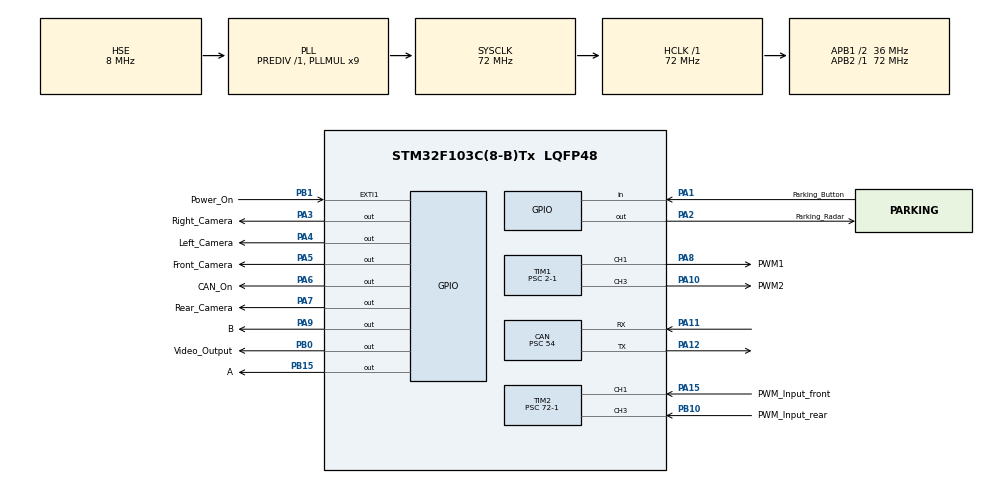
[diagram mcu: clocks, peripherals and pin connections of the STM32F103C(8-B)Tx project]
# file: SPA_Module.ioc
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CAN.AWUM=ENABLE
CAN.BS1=CAN_BS1_11TQ
CAN.BS2=CAN_BS2_2TQ
CAN.CalculateBaudRate=47619
CAN.CalculateTimeBit=21000
CAN.CalculateTimeQuantum=1500.0
CAN.Mode=CAN_MODE_NORMAL
CAN.Prescaler=54
CAN.SJW=CAN_SJW_1TQ
Mcu.Family=STM32F1
Mcu.Name=STM32F103C(8-B)Tx
Mcu.Package=LQFP48
NVIC.CAN1_RX1_IRQn=true\:0\:0\:true\:false\:true\:true\:true\:true
NVIC.EXTI1_IRQn=true\:0\:0\:false\:false\:true\:true\:true\:true
NVIC.PriorityGroup=NVIC_PRIORITYGROUP_4
NVIC.TIM2_IRQn=true\:0\:0\:true\:false\:true\:true\:true\:true
NVIC.TIM3_IRQn=true\:0\:0\:false\:false\:true\:true\:true\:true
NVIC.TIM4_IRQn=true\:0\:0\:true\:false\:true\:true\:true\:true
PA1.GPIO_Label=Parking_Button
PA1.GPIO_PuPd=GPIO_PULLUP
PA1.Signal=GPIO_Input
PA10.GPIO_Label=PWM2
PA10.GPIO_ModeDefaultPP=GPIO_MODE_AF_PP
PA10.GPIO_Speed=GPIO_SPEED_FREQ_HIGH
PA10.Signal=S_TIM1_CH3
PA11.GPIO_Mode=GPIO_MODE_INPUT
PA11.GPIO_PuPd=GPIO_NOPULL
PA11.Mode=CAN_Activate
PA11.Signal=CAN_RX
PA12.GPIO_Mode=GPIO_MODE_AF_PP
PA12.Mode=CAN_Activate
PA12.Signal=CAN_TX
PA13.Mode=Trace_Asynchronous_SW
PA13.Signal=SYS_JTMS-SWDIO
PA14.Mode=Trace_Asynchronous_SW
PA14.Signal=SYS_JTCK-SWCLK
PA15.GPIO_Label=PWM_Input_front
PA15.GPIO_PuPd=GPIO_PULLDOWN
PA15.Signal=S_TIM2_CH1_ETR
PA2.GPIO_Label=Parking_Radar
PA2.GPIO_PuPd=GPIO_PULLUP
PA2.PinState=GPIO_PIN_SET
PA2.Signal=GPIO_Output
PA3.GPIO_Label=Right_Camera
PA3.GPIO_PuPd=GPIO_PULLUP
PA3.PinState=GPIO_PIN_SET
PA3.Signal=GPIO_Output
PA4.GPIO_Label=Left_Camera
PA4.GPIO_PuPd=GPIO_PULLUP
PA4.PinState=GPIO_PIN_SET
PA4.Signal=GPIO_Output
PA5.GPIO_Label=Front_Camera
PA5.GPIO_PuPd=GPIO_PULLUP
PA5.PinState=GPIO_PIN_SET
PA5.Signal=GPIO_Output
PA6.GPIO_Label=CAN_On
PA6.Signal=GPIO_Output
PA7.GPIO_Label=Rear_Camera
PA7.GPIO_PuPd=GPIO_PULLUP
PA7.PinState=GPIO_PIN_SET
PA7.Signal=GPIO_Output
PA8.GPIO_Label=PWM1
PA8.GPIO_ModeDefaultPP=GPIO_MODE_AF_PP
PA8.GPIO_Speed=GPIO_SPEED_FREQ_HIGH
PA8.Signal=S_TIM1_CH1
PA9.GPIO_Label=B
PA9.GPIO_ModeDefaultOutputPP=GPIO_MODE_OUTPUT_OD
PA9.GPIO_PuPd=GPIO_NOPULL
PA9.GPIO_Speed=GPIO_SPEED_FREQ_HIGH
PA9.Signal=GPIO_Output
PB0.GPIO_Label=Video_Output
PB0.GPIO_PuPd=GPIO_PULLUP
PB0.PinState=GPIO_PIN_SET
PB0.Signal=GPIO_Output
PB1.GPIO_Label=Power_On
PB1.GPIO_ModeDefaultEXTI=GPIO_MODE_IT_RISING_FALLING
PB1.Signal=GPXTI1
PB10.GPIO_Label=PWM_Input_rear
PB10.Signal=S_TIM2_CH3
PB15.GPIO_Label=A
PB15.Signal=GPIO_Output
PB3.Mode=Trace_Asynchronous_SW
PB3.Signal=SYS_JTDO-TRACESWO
PD0-OSC_IN.Mode=HSE-External-Oscillator
PD0-OSC_IN.Signal=RCC_OSC_IN
PD1-OSC_OUT.Mode=HSE-External-Oscillator
PD1-OSC_OUT.Signal=RCC_OSC_OUT
ProjectManager.HeapSize=0x200
ProjectManager.StackSize=0x400
ProjectManager.TargetToolchain=STM32CubeIDE
RCC.AHBFreq_Value=72000000
RCC.APB1CLKDivider=RCC_HCLK_DIV2
RCC.APB1Freq_Value=36000000
RCC.APB1TimFreq_Value=72000000
RCC.APB2Freq_Value=72000000
RCC.APB2TimFreq_Value=72000000
RCC.HCLKFreq_Value=72000000
RCC.PLLMUL=RCC_PLL_MUL9
RCC.PLLSourceVirtual=RCC_PLLSOURCE_HSE
RCC.SYSCLKFreq_VALUE=72000000
RCC.SYSCLKSource=RCC_SYSCLKSOURCE_PLLCLK
RCC.USBFreq_Value=72000000
SH.S_TIM1_CH1.0=TIM1_CH1,PWM Generation1 CH1
SH.S_TIM1_CH3.0=TIM1_CH3,PWM Generation3 CH3
SH.S_TIM2_CH1_ETR.0=TIM2_CH1,Input_Capture1_from_TI1
SH.S_TIM2_CH3.0=TIM2_CH3,Input_Capture3_from_TI3
TIM1.AutoReloadPreload=TIM_AUTORELOAD_PRELOAD_DISABLE
TIM1.Channel-PWM\ Generation1\ CH1=TIM_CHANNEL_1
TIM1.Channel-PWM\ Generation3\ CH3=TIM_CHANNEL_3
TIM1.OCFastMode_PWM-PWM\ Generation1\ CH1=TIM_OCFAST_DISABLE
TIM1.OCIdleState_1=TIM_OCIDLESTATE_SET
TIM1.OCIdleState_3=TIM_OCIDLESTATE_SET
TIM1.OCMode_PWM-PWM\ Generation3\ CH3=TIM_OCMODE_PWM1
TIM1.OCPolarity_1=TIM_OCPOLARITY_LOW
TIM1.OCPolarity_3=TIM_OCPOLARITY_LOW
TIM1.Period=900-1
TIM1.Prescaler=2-1
TIM1.Pulse-PWM\ Generation1\ CH1=450-1
TIM1.Pulse-PWM\ Generation3\ CH3=450-1
TIM1.RepetitionCounter=16-1
TIM1.TIM_MasterOutputTrigger=TIM_TRGO_RESET
TIM2.AutoReloadPreload=TIM_AUTORELOAD_PRELOAD_DISABLE
TIM2.Channel-Input_Capture1_from_TI1=TIM_CHANNEL_1
TIM2.Channel-Input_Capture3_from_TI3=TIM_CHANNEL_3
TIM2.ClockDivision=TIM_CLOCKDIVISION_DIV1
TIM2.ICFilter_CH1=0
TIM2.ICPolarity_CH1=TIM_INPUTCHANNELPOLARITY_FALLING
TIM2.Period=60000-1
TIM2.Prescaler=72-1
TIM2.TIM_MasterOutputTrigger=TIM_TRGO_ENABLE
TIM2.TIM_MasterSlaveMode=TIM_MASTERSLAVEMODE_DISABLE
TIM3.AutoReloadPreload=TIM_AUTORELOAD_PRELOAD_DISABLE
TIM3.Channel-Output\ Compare1\ No\ Output=TIM_CHANNEL_1
TIM3.Channel-Output\ Compare2\ No\ Output=TIM_CHANNEL_2
TIM3.Period=20000-1
TIM3.Prescaler=72-1
TIM3.Pulse-Output\ Compare1\ No\ Output=2-1
TIM3.Pulse-Output\ Compare2\ No\ Output=10000-1
TIM4.Channel-Output\ Compare1\ No\ Output=TIM_CHANNEL_1
TIM4.Channel-Output\ Compare2\ No\ Output=TIM_CHANNEL_2
TIM4.Channel-Output\ Compare3\ No\ Output=TIM_CHANNEL_3
TIM4.OCMode_1=TIM_OCMODE_TOGGLE
TIM4.OCMode_2=TIM_OCMODE_TOGGLE
TIM4.Period=10000-1
TIM4.Prescaler=720-1
TIM4.Pulse-Output\ Compare1\ No\ Output=9000-1
TIM4.Pulse-Output\ Compare2\ No\ Output=5000-1
TIM4.Pulse-Output\ Compare3\ No\ Output=10000-1
VP_TIM1_VS_ClockSourceINT.Mode=Internal
VP_TIM1_VS_OPM.Mode=OPM_bit
VP_TIM2_VS_ClockSourceINT.Mode=Internal
VP_TIM3_VS_ClockSourceINT.Mode=Internal
VP_TIM3_VS_no_output1.Mode=Output Compare1 No Output
VP_TIM3_VS_no_output2.Mode=Output Compare2 No Output
VP_TIM4_VS_ClockSourceINT.Mode=Internal
VP_TIM4_VS_no_output1.Mode=Output Compare1 No Output
VP_TIM4_VS_no_output2.Mode=Output Compare2 No Output
VP_TIM4_VS_no_output3.Mode=Output Compare3 No Output
board=custom

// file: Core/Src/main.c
/* USER CODE BEGIN Header */
/**
  ******************************************************************************
  * @file           : main.c
  * @brief          : Main program body
  ******************************************************************************
  * @attention
  *
  * Copyright (c) 2025 STMicroelectronics.
  * All rights reserved.
  *
  * This software is licensed under terms that can be found in the LICENSE file
  * in the root directory of this software component.
  * If no LICENSE file comes with this software, it is provided AS-IS.
  *
  ******************************************************************************
  */
/* USER CODE END Header */
#include "main.h"

/* USER CODE BEGIN Includes */
#include <stdio.h>
#include <string.h>
/* USER CODE END Includes */

/* USER CODE BEGIN PD */
#define PARKING_BUTTON_PIN 	GPIO_PIN_1
#define PARKING_RADAR_PIN 	GPIO_PIN_2
#define RIGHT_CAMERA_PIN 	GPIO_PIN_3
#define LEFT_CAMERA_PIN 	GPIO_PIN_4
#define FRONT_CAMERA_PIN	GPIO_PIN_5
#define REAR_CAMERA_PIN 	GPIO_PIN_7
/* GPIO B */
#define VIDEO_OUTPUT_PIN 	GPIO_PIN_0

#define RADAR_START_PULSE 			1880	// ms
#define RADAR_HIGH_PULSE 			200		// ms
#define RADAR_LOW_PULSE 			100		// ms
#define RADAR_PULSE_DEVIATION 		20		// ms
#define RADAR_PULSES_NUMBER 		32
#define RADAR_PACKET_LENGTH 		8
#define RADAR_DISTANCE_MULTIPLIER 	10

#define FRONT_SPEED_LIMIT 		5
#define FRONT_DISTANCE_LIMIT	50

#define DISTANCE_LIMIT_1 30		// cm
#define DISTANCE_LIMIT_2 60		// cm
#define DISTANCE_LIMIT_3 100	// cm
#define DISTANCE_LIMIT_4 200	// cm

#define DISTANCE_LIMIT_1_TIMEOUT 100	// mS
#define DISTANCE_LIMIT_2_TIMEOUT 200	// mS
#define DISTANCE_LIMIT_3_TIMEOUT 400	// mS
#define DISTANCE_LIMIT_4_TIMEOUT 800	// mS

#define RIGHT_CAMERA_INDEX	0
#define LEFT_CAMERA_INDEX	1
#define FRONT_CAMERA_INDEX	2
#define REAR_CAMERA_INDEX	3

#define PARKING_BUTTON_LONG_PRESS_TIME	 1000	// mS
#define PARKING_BUTTON_SHORT_PRESS_TIME	 10		// mS

#define CAN_DATA_LENGTH 			8
#define CAN_SEND_START_TIMEOUT 		200		// mS
#define CAN_SPA_STATUS_FRAME_ID 	0x500
#define CAN_SID_BEEP_FRAME_ID 		0x430
#define CAN_TURN_LIGHT_FRAME_ID 	0x4a0
#define CAN_SPEED_RPM_FRAME_ID 		0x460
#define CAN_REVERSE_GEAR_FRAME_ID 	0x280
/* USER CODE END PD */

/* USER CODE BEGIN PM */
# define CHECK_BIT(var, pos) (((var) >> (pos)) & 1)
# define CHECK_RADAR_OFF (parking_camera_state == 0 && front_parking_radar == 0)
# define CHECK_RADAR_ON (parking_camera_state != 0 || front_parking_radar != 0)
# define CHECK_F_R_VIDEO_OFF (!CHECK_BIT(parking_camera_state, FRONT_CAMERA_INDEX) && !CHECK_BIT(parking_camera_state, REAR_CAMERA_INDEX))
# define CHECK_F_OR_R_VIDEO (CHECK_BIT(parking_camera_state, FRONT_CAMERA_INDEX) || CHECK_BIT(parking_camera_state, REAR_CAMERA_INDEX))
# define SET_INDEX_BIT(var, pos) (var |= 1 << pos)
# define CLEAR_INDEX_BIT(var, pos) (var &= ~(1 << pos))
# define IS_HIGH_PULSE(var) (RADAR_HIGH_PULSE + RADAR_PULSE_DEVIATION >= var && RADAR_HIGH_PULSE - RADAR_PULSE_DEVIATION <= var)
# define IS_LOW_PULSE(var) (RADAR_LOW_PULSE + RADAR_PULSE_DEVIATION >= var && RADAR_LOW_PULSE - RADAR_PULSE_DEVIATION <= var)
# define IS_START_PULSE(var) (RADAR_START_PULSE + RADAR_PULSE_DEVIATION >= var && RADAR_START_PULSE - RADAR_PULSE_DEVIATION <= var)
/* USER CODE END PM */

CAN_HandleTypeDef hcan;

TIM_HandleTypeDef htim1;
TIM_HandleTypeDef htim2;
TIM_HandleTypeDef htim3;
TIM_HandleTypeDef htim4;

/* USER CODE BEGIN PV */
CAN_TxHeaderTypeDef TxHeader;
CAN_RxHeaderTypeDef RxHeader;

uint8_t             RxData[8];
uint32_t            TxMailbox;

uint32_t 			front_sensors[4];
uint32_t		    rear_sensors[4];
int16_t				front_min_distance = 255;
int16_t				rear_min_distance = 255;

int8_t				start_radar = 0;
int8_t				notification = 0;
int8_t				enable_notification = 1;
int8_t				left_turn = 0;
int8_t				right_turn = 0;
int8_t				send_can_status = 0;
int8_t				parking_camera_state = 0;
int8_t				front_parking_radar = 0;

volatile uint8_t sleep_mode_activated = 0;
volatile uint8_t enter_sleep_flag = 0;
/* USER CODE END PV */

void SystemClock_Config(void);
static void MX_GPIO_Init(void);
static void MX_CAN_Init(void);
static void MX_TIM2_Init(void);
static void MX_TIM4_Init(void);
static void MX_TIM3_Init(void);
static void MX_TIM1_Init(void);

/* USER CODE BEGIN 0 */

void HandleFrontRadarPulses(TIM_HandleTypeDef *htim)
{
	static 	int8_t 		index = RADAR_PULSES_NUMBER;
	static 	int8_t 		start_cpatured = 0;
	static 	uint32_t	captured_pulses = 0;
			uint32_t 	pulse = 0;
			uint16_t 	packet = 0;

	pulse = HAL_TIM_ReadCapturedValue(htim, TIM_CHANNEL_2);

	if (IS_START_PULSE(pulse))
	{
		start_cpatured = 1;
		index = RADAR_PULSES_NUMBER;
		return;
	}
	if (start_cpatured){
		if (IS_HIGH_PULSE(pulse)) captured_pulses |= (1 << index);

		if (index == 0) {
			front_min_distance = 255;
			for (int i=0; i<4; i+=1) {
				packet = (captured_pulses & (255 << (RADAR_PACKET_LENGTH * i))) >> (RADAR_PACKET_LENGTH * i);
				front_sensors[i] = packet;
				if (packet < front_min_distance) front_min_distance = packet;
			}
			captured_pulses = 0;
			start_cpatured = 0;
		}
		index --;
	}
}

void HandleRearRadarPulses(TIM_HandleTypeDef *htim)
{
	static int8_t 		index = RADAR_PULSES_NUMBER;
	static int8_t 		start_cpatured = 0;
	static uint32_t 	captured_pulses = 0;
	uint32_t 			pulse = 0;
	uint16_t 			packet = 0;

	pulse = HAL_TIM_ReadCapturedValue(htim, TIM_CHANNEL_2);

	if (IS_START_PULSE(pulse))
	{
		start_cpatured = 1;
		index = RADAR_PULSES_NUMBER;
		return;
	}
	if (start_cpatured){
		if (IS_HIGH_PULSE(pulse)) captured_pulses |= (1 << index);

		if (index == 0) {
			rear_min_distance = 255;
			for (int i=0; i<4; i+=1) {
				packet = (captured_pulses & (255 << (RADAR_PACKET_LENGTH * i))) >> (RADAR_PACKET_LENGTH * i);
				rear_sensors[i] = packet;
				if (packet < rear_min_distance) rear_min_distance = packet;
			}
			captured_pulses = 0;
			start_cpatured = 0;
		}
		index --;
	}
}

void can_send_sensors(){

	if (notification) {
		static uint8_t TxData[8];
		TxHeader.StdId = CAN_SPA_STATUS_FRAME_ID;
		TxData[0] = rear_sensors[0];
		TxData[1] = rear_sensors[1];
		TxData[2] = rear_sensors[2];
		TxData[3] = rear_sensors[3];
		TxData[4] = front_sensors[0];
		TxData[5] = front_sensors[1];
		TxData[6] = front_sensors[2];
		TxData[7] = front_sensors[3];
		if (HAL_CAN_AddTxMessage(&hcan, &TxHeader, TxData, &TxMailbox) != HAL_OK)
		{
			Error_Handler();
		}
	}
}

void send_long_beep_distance(){
	static uint8_t TxData[8];
		TxHeader.StdId = CAN_SID_BEEP_FRAME_ID;
		TxData[2] |= 1 << 7;
		if (HAL_CAN_AddTxMessage(&hcan, &TxHeader, TxData, &TxMailbox) != HAL_OK)
		{
			Error_Handler();
		}
}

void send_beep_distance(){
	static uint8_t TxData[8];
		TxHeader.StdId = CAN_SID_BEEP_FRAME_ID;
		TxData[1] |= 1 << 4;
		if (HAL_CAN_AddTxMessage(&hcan, &TxHeader, TxData, &TxMailbox) != HAL_OK)
		{
			Error_Handler();
		}
}

uint16_t get_min_distance()
{
	uint16_t min_distance = 255;
	for (int i=0; i<3; i++)
	{
		if (front_sensors[i] < min_distance) min_distance = front_sensors[i];
		if (rear_sensors[i] < min_distance) min_distance = rear_sensors[i];
	}
	return min_distance;
}

uint16_t get_front_min_distance()
{
	uint16_t min_distance = 255;
	for (int i=0; i<3; i++){
			if (front_sensors[i] < min_distance) min_distance = front_sensors[i];
		}
	return min_distance;
}

void SendParkingSound()
{
	static uint32_t last_time = 0;

	if (notification == 0) return;

	switch(get_min_distance() * RADAR_DISTANCE_MULTIPLIER)
	{
	case 0 ... DISTANCE_LIMIT_1:
	{
		if ((HAL_GetTick() - last_time >= DISTANCE_LIMIT_1_TIMEOUT) || last_time == 0)
		{
			last_time = HAL_GetTick();
			send_beep_distance();
		}
	}
	break;
	case (DISTANCE_LIMIT_1 + 1) ... DISTANCE_LIMIT_2:
	{
		if ((HAL_GetTick() - last_time >= DISTANCE_LIMIT_2_TIMEOUT) || last_time == 0)
		{
			last_time = HAL_GetTick();
			send_beep_distance();
		}
	}
	break;
	case (DISTANCE_LIMIT_2 + 1) ... DISTANCE_LIMIT_3:
	{
		if ((HAL_GetTick() - last_time >= DISTANCE_LIMIT_3_TIMEOUT) || last_time == 0)
		{
			last_time = HAL_GetTick();
			send_beep_distance();
		}
	}
	break;
	case (DISTANCE_LIMIT_3 + 1) ... DISTANCE_LIMIT_4:
	{
		if ((HAL_GetTick() - last_time >= DISTANCE_LIMIT_4_TIMEOUT) || last_time == 0)
		{
			last_time = HAL_GetTick();
			send_beep_distance();
		}
	}
	break;
	}
}

void HandleCameraState(int16_t state)
{
	HAL_GPIO_WritePin(GPIOA, RIGHT_CAMERA_PIN,
			CHECK_BIT(state, RIGHT_CAMERA_INDEX) ? GPIO_PIN_RESET : GPIO_PIN_SET);
	HAL_GPIO_WritePin(GPIOA, LEFT_CAMERA_PIN,
			CHECK_BIT(state, LEFT_CAMERA_INDEX) ? GPIO_PIN_RESET : GPIO_PIN_SET);
	HAL_GPIO_WritePin(GPIOA, FRONT_CAMERA_PIN,
			CHECK_BIT(state, FRONT_CAMERA_INDEX) ? GPIO_PIN_RESET : GPIO_PIN_SET);
	HAL_GPIO_WritePin(GPIOA, REAR_CAMERA_PIN,
			CHECK_BIT(state, REAR_CAMERA_INDEX) ? GPIO_PIN_RESET : GPIO_PIN_SET);

	HAL_GPIO_WritePin(GPIOB, VIDEO_OUTPUT_PIN, state != 0 ? GPIO_PIN_RESET : GPIO_PIN_SET);
}

void StartRadar(){
	start_radar = 1;
	HAL_GPIO_WritePin(GPIOA, PARKING_RADAR_PIN, GPIO_PIN_RESET);
}

void StopRadar(){
	start_radar = 0;
	notification = 0;
	send_can_status = 0;
	for (int i=0; i<3; i++){
		front_sensors[i] = 255;
		rear_sensors[i] = 255;
	}
	front_min_distance = 255;
	rear_min_distance = 255;
	HAL_GPIO_WritePin(GPIOA, PARKING_RADAR_PIN, GPIO_PIN_SET);
}

void HandleRadarState(){
	if (CHECK_RADAR_ON) StartRadar();
	else if (CHECK_RADAR_OFF) StopRadar();
}

void StopRightTurn() {
	CLEAR_INDEX_BIT(parking_camera_state, RIGHT_CAMERA_INDEX);
	HandleCameraState(parking_camera_state);
}

void HandleRightTurnCountdown(int32_t stop_time){
	static int32_t last_stop_triggered = 0;

	if (stop_time != 0) last_stop_triggered = stop_time;
	if (right_turn == 1) last_stop_triggered = 0;

	if (last_stop_triggered != 0 && ((HAL_GetTick() - last_stop_triggered > 300) || left_turn == 1)) {
		StopRightTurn();
		last_stop_triggered = 0;
	}
}

void HandleRightTurn(uint8_t left, uint8_t right){

	if (left == 1 && right == 1) return;

	if (right == 1 && CHECK_F_OR_R_VIDEO){
		if (right_turn == 0){
			right_turn = 1;
			SET_INDEX_BIT(parking_camera_state, RIGHT_CAMERA_INDEX);
			HandleCameraState(parking_camera_state);
		}
	}
	else {
		if (right_turn == 1) {
			right_turn = 0;
			if (CHECK_F_R_VIDEO_OFF){
				StopRightTurn();
			}
			else HandleRightTurnCountdown(HAL_GetTick());
		}
	}
}

void StopLeftTurn() {
	CLEAR_INDEX_BIT(parking_camera_state, LEFT_CAMERA_INDEX);
	HandleCameraState(parking_camera_state);
}

void HandleLeftTurnCountdown(int32_t stop_time){
	static int32_t last_stop_triggered = 0;

	if (stop_time != 0) last_stop_triggered = stop_time;
	if (left_turn == 1) last_stop_triggered = 0;

	if (last_stop_triggered != 0 && ((HAL_GetTick() - last_stop_triggered > 300) || right_turn == 1)) {
		left_turn = 0;
		StopLeftTurn();
		last_stop_triggered = 0;
	}
}

void HandleLeftTurn(uint8_t left, uint8_t right){

	if (left == 1 && right == 1) return;

	if (left == 1 && CHECK_F_OR_R_VIDEO){
		if (left_turn == 0){
			left_turn = 1;
			SET_INDEX_BIT(parking_camera_state, LEFT_CAMERA_INDEX);
			HandleCameraState(parking_camera_state);
		}
	}
	else {
		if (left_turn == 1) {
			left_turn = 0;
			if (CHECK_F_R_VIDEO_OFF){
				StopLeftTurn();
			}
			else HandleLeftTurnCountdown(HAL_GetTick());
		}
	}
}

void HandleRearGear(int8_t rear_gear)
{
	if (rear_gear == 1 && !CHECK_BIT(parking_camera_state, REAR_CAMERA_INDEX)) {
		SET_INDEX_BIT(parking_camera_state, REAR_CAMERA_INDEX);
		notification = 1;
		HandleCameraState(parking_camera_state);
	}
	else if (rear_gear == 0 && CHECK_BIT(parking_camera_state, REAR_CAMERA_INDEX)) {
		CLEAR_INDEX_BIT(parking_camera_state, REAR_CAMERA_INDEX);
		HandleCameraState(parking_camera_state);
	}
}

void HandleFrontSpeed(uint32_t speed)
{
	if (speed == 0){
		 front_parking_radar = 0;
		 return;
	}

	if (speed <= FRONT_SPEED_LIMIT){
		if (CHECK_BIT(parking_camera_state, FRONT_CAMERA_INDEX)) return;

		front_parking_radar = 1;
		if (enable_notification){
			if (get_front_min_distance() * RADAR_DISTANCE_MULTIPLIER <= FRONT_DISTANCE_LIMIT){
				notification = 1;
			} else {
				notification = 0;
			}
		}
	} else {
		front_parking_radar = 0;
		notification = 0;
		if (CHECK_BIT(parking_camera_state, FRONT_CAMERA_INDEX)){
			CLEAR_INDEX_BIT(parking_camera_state, FRONT_CAMERA_INDEX);
			HandleCameraState(parking_camera_state);
			front_parking_radar = 0;
		}
	}
}

void HandleParkingButton(void) {
	static int32_t last_btn_pressed = 0;
	static int8_t button_processed = 0;

	if (HAL_GPIO_ReadPin(GPIOA, PARKING_BUTTON_PIN) == 0){
		if (button_processed) return;
		if (last_btn_pressed == 0) last_btn_pressed = HAL_GetTick();
		if (HAL_GetTick() - last_btn_pressed >= PARKING_BUTTON_LONG_PRESS_TIME){
			 if (front_parking_radar == 1 && notification == 1){
				 enable_notification = 0;
				 notification = 0;
			 }
			 else if (front_parking_radar == 1 && notification == 0) {
				 enable_notification = 1;
				 notification = 1;
			 }
			 last_btn_pressed = 0;
			 button_processed = 1;
		}
	}
	else {
		if (button_processed) button_processed = 0;
		if (last_btn_pressed == 0) return;
		if (HAL_GetTick() - last_btn_pressed >= PARKING_BUTTON_SHORT_PRESS_TIME &&
				HAL_GetTick() - last_btn_pressed < PARKING_BUTTON_LONG_PRESS_TIME){
			if (CHECK_BIT(parking_camera_state, FRONT_CAMERA_INDEX)){
				CLEAR_INDEX_BIT(parking_camera_state, FRONT_CAMERA_INDEX);
				HandleCameraState(parking_camera_state);
				notification = 0;
			}
			else {
				SET_INDEX_BIT(parking_camera_state, FRONT_CAMERA_INDEX);
				HandleCameraState(parking_camera_state);
				notification = 1;
			}
		}
		last_btn_pressed = 0;
	}
}
uint8_t current_radar_idx = -1;
uint8_t front_pulse_captured = 0, rear_pulse_captured = 0;

uint8_t front_start_captured = 0;
void HandleFrontPulses(TIM_HandleTypeDef *htim){
	static uint32_t IC_val1_front = 0, IC_val2_front= 0;
	uint32_t IC_diff_front = 0;

	if (front_pulse_captured) return;

	if (!front_start_captured){
		IC_val1_front = HAL_TIM_ReadCapturedValue(htim, TIM_CHANNEL_1);
		front_start_captured = 1;
	}
	else {
		IC_val2_front = HAL_TIM_ReadCapturedValue(htim, TIM_CHANNEL_1);
		IC_diff_front = IC_val2_front - IC_val1_front;

		front_sensors[current_radar_idx] = (IC_diff_front * 173)/ 100000;
		front_start_captured = 0;
		front_pulse_captured = 1;
	}

}

uint8_t rear_start_captured = 0;
void HandleRearPulses(TIM_HandleTypeDef *htim){
	static uint32_t IC_val1_rear = 0, IC_val2_rear= 0;
	uint32_t IC_diff_rear = 0;

	if (rear_pulse_captured) return;

	if (!rear_start_captured){
		IC_val1_rear = HAL_TIM_ReadCapturedValue(htim, TIM_CHANNEL_2);
		rear_start_captured = 1;
	}
	else {
		IC_val2_rear = HAL_TIM_ReadCapturedValue(htim, TIM_CHANNEL_2);
		IC_diff_rear = IC_val2_rear - IC_val1_rear;

		rear_sensors[current_radar_idx] = (IC_diff_rear * 173)/ 100000;
		rear_start_captured = 0;
		rear_pulse_captured = 1;
	}
}

void HAL_TIM_IC_CaptureCallback(TIM_HandleTypeDef *htim)
{
	if (!CHECK_RADAR_ON) return;

	if(htim -> Instance == TIM2 && htim -> Channel == HAL_TIM_ACTIVE_CHANNEL_1)
	{
		HandleFrontPulses(htim);
	}
	if(htim -> Instance == TIM2 && htim -> Channel == HAL_TIM_ACTIVE_CHANNEL_3)
	{
		HandleRearPulses(htim);
	}
}

uint32_t front_max_distance_counter[4], rear_max_distance_counter[4];

void HAL_TIM_OC_DelayElapsedCallback(TIM_HandleTypeDef *htim)
{
	static	uint32_t	 start_time = 0;
	if (!CHECK_RADAR_ON) return;

	if (htim->Instance == TIM3){
		if(htim -> Channel == HAL_TIM_ACTIVE_CHANNEL_1)
		{
			current_radar_idx ++;
			if (current_radar_idx > 3) current_radar_idx = 0;
			HAL_GPIO_WritePin(GPIOB, GPIO_PIN_15, CHECK_BIT(current_radar_idx, 0)); //A
			HAL_GPIO_WritePin(GPIOA, GPIO_PIN_9, CHECK_BIT(current_radar_idx, 1));	//B

			if (!front_pulse_captured){
				if (front_sensors[current_radar_idx] != 255) {
					front_max_distance_counter[current_radar_idx] ++;
				}
				if (front_max_distance_counter[current_radar_idx] == 10) {
					front_sensors[current_radar_idx] = 255;
					front_max_distance_counter[current_radar_idx] = 0;
				}
			}
			front_start_captured = 0;
			front_pulse_captured = 0;

			TIM1->CCR3 = 450-1;
			TIM1->CCR1 = 65535;
			htim1.Instance->CR1 |= TIM_CR1_CEN; // Enable Counter

		}

		if(htim -> Channel == HAL_TIM_ACTIVE_CHANNEL_2)
		{
			if (!rear_pulse_captured){
				if (rear_sensors[current_radar_idx] != 255){
					rear_max_distance_counter[current_radar_idx] ++;
				}
				if (rear_max_distance_counter[current_radar_idx] == 10) {
					rear_sensors[current_radar_idx] = 255;
					rear_max_distance_counter[current_radar_idx] = 0;
				}
			}
			rear_start_captured = 0;
			rear_pulse_captured = 0;
			TIM1->CCR3 = 65535;
			TIM1->CCR1 = 450-1;
			htim1.Instance->CR1 |= TIM_CR1_CEN; // Enable Counter
		}
	}

	if (htim->Instance == TIM4){
		if(htim -> Channel == HAL_TIM_ACTIVE_CHANNEL_2)
		{
//			SendParkingSound(); // 50 mS
		}
		if(htim -> Channel == HAL_TIM_ACTIVE_CHANNEL_3)
		{

			SendParkingSound();
			if (send_can_status) can_send_sensors(); // 100 mS

			/* Wait timeout to proper enter parking mode on Head Unit */
			else {
				if (start_time == 0) start_time = HAL_GetTick();

				if (HAL_GetTick() - start_time > CAN_SEND_START_TIMEOUT) {
					send_can_status = 1;
					start_time = 0;
				}
			}
		}
	}
}

void EnterSleepMode(){
	enter_sleep_flag = 0;
	sleep_mode_activated = 1;
	HAL_GPIO_WritePin(GPIOA, GPIO_PIN_6, GPIO_PIN_SET); // CAN off
	HAL_SuspendTick();
	HAL_PWR_EnterSLEEPMode(PWR_MAINREGULATOR_ON, PWR_SLEEPENTRY_WFI);

}

void HAL_GPIO_EXTI_Callback(uint16_t GPIO_Pin)
{
	// if rising edge
	if(SleepMode_Activated == 1)
	{
		// CPU Has Exited From Sleep Mode, Resume The SysTick!
		HAL_ResumeTick();
		SleepMode_Activated = 0;
	}

	// iuf falling edge
	else
	{
		// Re-Enter Sleep Mode!
		EnterSleepFlag = 1;
	}

}

void HAL_CAN_RxFifo1MsgPendingCallback(CAN_HandleTypeDef *hcan)
{
	/* Get RX message */
	if (HAL_CAN_GetRxMessage(hcan, CAN_RX_FIFO1, &RxHeader, RxData) != HAL_OK)
	{
		/* Reception Error */
		Error_Handler();
	}

	if (RxHeader.IDE != CAN_ID_STD || RxHeader.DLC != CAN_DATA_LENGTH) return;

	switch(RxHeader.StdId)
	{
	case CAN_TURN_LIGHT_FRAME_ID:
	{
		if (CHECK_BIT(RxData[0], 7)){
			HandleRightTurn(CHECK_BIT(RxData[2], 5), CHECK_BIT(RxData[2], 6));
			HandleLeftTurn(CHECK_BIT(RxData[2], 5), CHECK_BIT(RxData[2], 6));
		}
	}
	break;
	case CAN_SPEED_RPM_FRAME_ID:
	{
		HandleFrontSpeed((((uint16_t)RxData[3] << 8) | (uint8_t)RxData[4]) / 10);
	}
	break;
	case CAN_REVERSE_GEAR_FRAME_ID:
	{
		if (RxData[1] == 0x02) // Rear gear selected
		{
			HandleRearGear(1);
		}
		if (RxData[1] == 0xff) // Rear gear cleared
		{
			HandleRearGear(0);
		}
	}
	break;
	}
}
/* USER CODE END 0 */

int main(void)
{

  /* MCU Configuration--------------------------------------------------------*/

  /* Reset of all peripherals, Initializes the Flash interface and the Systick. */
  HAL_Init();

  /* Configure the system clock */
  SystemClock_Config();

  /* Initialize all configured peripherals */
  MX_GPIO_Init();
  MX_CAN_Init();
  MX_TIM2_Init();
  MX_TIM4_Init();
  MX_TIM3_Init();
  MX_TIM1_Init();
  /* USER CODE BEGIN 2 */
  EnterSleepMode();
  /* USER CODE END 2 */

  /* Infinite loop */
  /* USER CODE BEGIN WHILE */
  while (1)
  {
	  if(enter_sleep_flag) EnterSleepMode();
	  HandleRadarState();
	  HandleParkingButton();
	  HandleLeftTurnCountdown(0);
	  HandleRightTurnCountdown(0);
    /* USER CODE END WHILE */

  }
}

void SystemClock_Config(void)
{
  RCC_OscInitTypeDef RCC_OscInitStruct = {0};
  RCC_ClkInitTypeDef RCC_ClkInitStruct = {0};

  /** Initializes the RCC Oscillators according to the specified parameters
  * in the RCC_OscInitTypeDef structure.
  */
  RCC_OscInitStruct.OscillatorType = RCC_OSCILLATORTYPE_HSE;
  RCC_OscInitStruct.HSEState = RCC_HSE_ON;
  RCC_OscInitStruct.HSEPredivValue = RCC_HSE_PREDIV_DIV1;
  RCC_OscInitStruct.HSIState = RCC_HSI_ON;
  RCC_OscInitStruct.PLL.PLLState = RCC_PLL_ON;
  RCC_OscInitStruct.PLL.PLLSource = RCC_PLLSOURCE_HSE;
  RCC_OscInitStruct.PLL.PLLMUL = RCC_PLL_MUL9;
  if (HAL_RCC_OscConfig(&RCC_OscInitStruct) != HAL_OK)
  {
    Error_Handler();
  }

  /** Initializes the CPU, AHB and APB buses clocks
  */
  RCC_ClkInitStruct.ClockType = RCC_CLOCKTYPE_HCLK|RCC_CLOCKTYPE_SYSCLK
                              |RCC_CLOCKTYPE_PCLK1|RCC_CLOCKTYPE_PCLK2;
  RCC_ClkInitStruct.SYSCLKSource = RCC_SYSCLKSOURCE_PLLCLK;
  RCC_ClkInitStruct.AHBCLKDivider = RCC_SYSCLK_DIV1;
  RCC_ClkInitStruct.APB1CLKDivider = RCC_HCLK_DIV2;
  RCC_ClkInitStruct.APB2CLKDivider = RCC_HCLK_DIV1;

  if (HAL_RCC_ClockConfig(&RCC_ClkInitStruct, FLASH_LATENCY_2) != HAL_OK)
  {
    Error_Handler();
  }
}

static void MX_CAN_Init(void)
{

  /* USER CODE BEGIN CAN_Init 0 */
  CAN_FilterTypeDef  sFilterConfig;
  /* USER CODE END CAN_Init 0 */

  hcan.Instance = CAN1;
  hcan.Init.Prescaler = 54;
  hcan.Init.Mode = CAN_MODE_NORMAL;
  hcan.Init.SyncJumpWidth = CAN_SJW_1TQ;
  hcan.Init.TimeSeg1 = CAN_BS1_11TQ;
  hcan.Init.TimeSeg2 = CAN_BS2_2TQ;
  hcan.Init.TimeTriggeredMode = DISABLE;
  hcan.Init.AutoBusOff = DISABLE;
  hcan.Init.AutoWakeUp = ENABLE;
  hcan.Init.AutoRetransmission = DISABLE;
  hcan.Init.ReceiveFifoLocked = DISABLE;
  hcan.Init.TransmitFifoPriority = DISABLE;
  if (HAL_CAN_Init(&hcan) != HAL_OK)
  {
    Error_Handler();
  }
  /* USER CODE BEGIN CAN_Init 2 */
  /* Configure the CAN Filter */
   sFilterConfig.FilterBank = 0;
   sFilterConfig.FilterMode = CAN_FILTERMODE_IDLIST;
   sFilterConfig.FilterScale = CAN_FILTERSCALE_16BIT;
   sFilterConfig.FilterIdHigh = 0x460<<5;
   sFilterConfig.FilterIdLow = 0x280<<5;
   sFilterConfig.FilterMaskIdHigh = 0;
   sFilterConfig.FilterMaskIdLow = 0;
   sFilterConfig.FilterFIFOAssignment = CAN_RX_FIFO1;
   sFilterConfig.FilterActivation = ENABLE;
   sFilterConfig.SlaveStartFilterBank = 0;

   if (HAL_CAN_ConfigFilter(&hcan, &sFilterConfig) != HAL_OK) {
		/* Filter configuration Error */
		Error_Handler();
   }

   sFilterConfig.FilterBank = 1;
   sFilterConfig.FilterIdHigh = 0x4a0<<5;
   sFilterConfig.FilterIdLow = 0x430<<5;
   sFilterConfig.FilterMaskIdHigh = 0;
   sFilterConfig.FilterMaskIdLow = 0;

   if (HAL_CAN_ConfigFilter(&hcan, &sFilterConfig) != HAL_OK) {
		/* Filter configuration Error */
		Error_Handler();
   }

  /* Start the CAN peripheral */
   if (HAL_CAN_Start(&hcan) != HAL_OK)
   {
     /* Start Error */
     Error_Handler();
   }

   /* Activate CAN RX notification */
   if (HAL_CAN_ActivateNotification(&hcan, CAN_IT_RX_FIFO1_MSG_PENDING) != HAL_OK)
   {
	/* Notification Error */
	Error_Handler();
   }
   /* Configure Transmission process */
   TxHeader.IDE = CAN_ID_STD;
   TxHeader.RTR = CAN_RTR_DATA;
   TxHeader.DLC = CAN_DATA_LENGTH;
  /* USER CODE END CAN_Init 2 */

}

static void MX_TIM1_Init(void)
{

  TIM_ClockConfigTypeDef sClockSourceConfig = {0};
  TIM_MasterConfigTypeDef sMasterConfig = {0};
  TIM_OC_InitTypeDef sConfigOC = {0};
  TIM_BreakDeadTimeConfigTypeDef sBreakDeadTimeConfig = {0};

  htim1.Instance = TIM1;
  htim1.Init.Prescaler = 2-1;
  htim1.Init.CounterMode = TIM_COUNTERMODE_UP;
  htim1.Init.Period = 900-1;
  htim1.Init.ClockDivision = TIM_CLOCKDIVISION_DIV1;
  htim1.Init.RepetitionCounter = 16-1;
  htim1.Init.AutoReloadPreload = TIM_AUTORELOAD_PRELOAD_DISABLE;
  if (HAL_TIM_Base_Init(&htim1) != HAL_OK)
  {
    Error_Handler();
  }
  sClockSourceConfig.ClockSource = TIM_CLOCKSOURCE_INTERNAL;
  if (HAL_TIM_ConfigClockSource(&htim1, &sClockSourceConfig) != HAL_OK)
  {
    Error_Handler();
  }
  if (HAL_TIM_PWM_Init(&htim1) != HAL_OK)
  {
    Error_Handler();
  }
  if (HAL_TIM_OnePulse_Init(&htim1, TIM_OPMODE_SINGLE) != HAL_OK)
  {
    Error_Handler();
  }
  sMasterConfig.MasterOutputTrigger = TIM_TRGO_RESET;
  sMasterConfig.MasterSlaveMode = TIM_MASTERSLAVEMODE_DISABLE;
  if (HAL_TIMEx_MasterConfigSynchronization(&htim1, &sMasterConfig) != HAL_OK)
  {
    Error_Handler();
  }
  sConfigOC.OCMode = TIM_OCMODE_PWM1;
  sConfigOC.Pulse = 450-1;
  sConfigOC.OCPolarity = TIM_OCPOLARITY_LOW;
  sConfigOC.OCNPolarity = TIM_OCNPOLARITY_HIGH;
  sConfigOC.OCFastMode = TIM_OCFAST_DISABLE;
  sConfigOC.OCIdleState = TIM_OCIDLESTATE_SET;
  sConfigOC.OCNIdleState = TIM_OCNIDLESTATE_RESET;
  if (HAL_TIM_PWM_ConfigChannel(&htim1, &sConfigOC, TIM_CHANNEL_1) != HAL_OK)
  {
    Error_Handler();
  }
  if (HAL_TIM_PWM_ConfigChannel(&htim1, &sConfigOC, TIM_CHANNEL_3) != HAL_OK)
  {
    Error_Handler();
  }
  sBreakDeadTimeConfig.OffStateRunMode = TIM_OSSR_DISABLE;
  sBreakDeadTimeConfig.OffStateIDLEMode = TIM_OSSI_DISABLE;
  sBreakDeadTimeConfig.LockLevel = TIM_LOCKLEVEL_OFF;
  sBreakDeadTimeConfig.DeadTime = 0;
  sBreakDeadTimeConfig.BreakState = TIM_BREAK_DISABLE;
  sBreakDeadTimeConfig.BreakPolarity = TIM_BREAKPOLARITY_HIGH;
  sBreakDeadTimeConfig.AutomaticOutput = TIM_AUTOMATICOUTPUT_DISABLE;
  if (HAL_TIMEx_ConfigBreakDeadTime(&htim1, &sBreakDeadTimeConfig) != HAL_OK)
  {
    Error_Handler();
  }
  /* USER CODE BEGIN TIM1_Init 2 */
  HAL_TIM_PWM_Start(&htim1, TIM_CHANNEL_1);
  HAL_TIM_PWM_Start(&htim1, TIM_CHANNEL_3);
  /* USER CODE END TIM1_Init 2 */
  HAL_TIM_MspPostInit(&htim1);

}

static void MX_TIM2_Init(void)
{

  TIM_ClockConfigTypeDef sClockSourceConfig = {0};
  TIM_MasterConfigTypeDef sMasterConfig = {0};
  TIM_IC_InitTypeDef sConfigIC = {0};

  htim2.Instance = TIM2;
  htim2.Init.Prescaler = 72-1;
  htim2.Init.CounterMode = TIM_COUNTERMODE_UP;
  htim2.Init.Period = 60000-1;
  htim2.Init.ClockDivision = TIM_CLOCKDIVISION_DIV1;
  htim2.Init.AutoReloadPreload = TIM_AUTORELOAD_PRELOAD_DISABLE;
  if (HAL_TIM_Base_Init(&htim2) != HAL_OK)
  {
    Error_Handler();
  }
  sClockSourceConfig.ClockSource = TIM_CLOCKSOURCE_INTERNAL;
  if (HAL_TIM_ConfigClockSource(&htim2, &sClockSourceConfig) != HAL_OK)
  {
    Error_Handler();
  }
  if (HAL_TIM_IC_Init(&htim2) != HAL_OK)
  {
    Error_Handler();
  }
  sMasterConfig.MasterOutputTrigger = TIM_TRGO_ENABLE;
  sMasterConfig.MasterSlaveMode = TIM_MASTERSLAVEMODE_DISABLE;
  if (HAL_TIMEx_MasterConfigSynchronization(&htim2, &sMasterConfig) != HAL_OK)
  {
    Error_Handler();
  }
  sConfigIC.ICPolarity = TIM_INPUTCHANNELPOLARITY_FALLING;
  sConfigIC.ICSelection = TIM_ICSELECTION_DIRECTTI;
  sConfigIC.ICPrescaler = TIM_ICPSC_DIV1;
  sConfigIC.ICFilter = 0;
  if (HAL_TIM_IC_ConfigChannel(&htim2, &sConfigIC, TIM_CHANNEL_1) != HAL_OK)
  {
    Error_Handler();
  }
  sConfigIC.ICPolarity = TIM_INPUTCHANNELPOLARITY_RISING;
  if (HAL_TIM_IC_ConfigChannel(&htim2, &sConfigIC, TIM_CHANNEL_3) != HAL_OK)
  {
    Error_Handler();
  }
  /* USER CODE BEGIN TIM2_Init 2 */
  HAL_TIM_IC_Start_IT(&htim2, TIM_CHANNEL_1);
  HAL_TIM_IC_Start_IT(&htim2, TIM_CHANNEL_3);
  /* USER CODE END TIM2_Init 2 */

}

static void MX_TIM3_Init(void)
{

  TIM_ClockConfigTypeDef sClockSourceConfig = {0};
  TIM_MasterConfigTypeDef sMasterConfig = {0};
  TIM_OC_InitTypeDef sConfigOC = {0};

  htim3.Instance = TIM3;
  htim3.Init.Prescaler = 72-1;
  htim3.Init.CounterMode = TIM_COUNTERMODE_UP;
  htim3.Init.Period = 20000-1;
  htim3.Init.ClockDivision = TIM_CLOCKDIVISION_DIV1;
  htim3.Init.AutoReloadPreload = TIM_AUTORELOAD_PRELOAD_DISABLE;
  if (HAL_TIM_Base_Init(&htim3) != HAL_OK)
  {
    Error_Handler();
  }
  sClockSourceConfig.ClockSource = TIM_CLOCKSOURCE_INTERNAL;
  if (HAL_TIM_ConfigClockSource(&htim3, &sClockSourceConfig) != HAL_OK)
  {
    Error_Handler();
  }
  if (HAL_TIM_OC_Init(&htim3) != HAL_OK)
  {
    Error_Handler();
  }
  sMasterConfig.MasterOutputTrigger = TIM_TRGO_RESET;
  sMasterConfig.MasterSlaveMode = TIM_MASTERSLAVEMODE_DISABLE;
  if (HAL_TIMEx_MasterConfigSynchronization(&htim3, &sMasterConfig) != HAL_OK)
  {
    Error_Handler();
  }
  sConfigOC.OCMode = TIM_OCMODE_TIMING;
  sConfigOC.Pulse = 2-1;
  sConfigOC.OCPolarity = TIM_OCPOLARITY_HIGH;
  sConfigOC.OCFastMode = TIM_OCFAST_DISABLE;
  if (HAL_TIM_OC_ConfigChannel(&htim3, &sConfigOC, TIM_CHANNEL_1) != HAL_OK)
  {
    Error_Handler();
  }
  sConfigOC.Pulse = 10000-1;
  if (HAL_TIM_OC_ConfigChannel(&htim3, &sConfigOC, TIM_CHANNEL_2) != HAL_OK)
  {
    Error_Handler();
  }
  /* USER CODE BEGIN TIM3_Init 2 */
  HAL_TIM_IC_Start_IT(&htim3, TIM_CHANNEL_1);
  HAL_TIM_IC_Start_IT(&htim3, TIM_CHANNEL_2);
  /* USER CODE END TIM3_Init 2 */

}

static void MX_TIM4_Init(void)
{

  TIM_ClockConfigTypeDef sClockSourceConfig = {0};
  TIM_MasterConfigTypeDef sMasterConfig = {0};
  TIM_OC_InitTypeDef sConfigOC = {0};

  htim4.Instance = TIM4;
  htim4.Init.Prescaler = 720-1;
  htim4.Init.CounterMode = TIM_COUNTERMODE_UP;
  htim4.Init.Period = 10000-1;
  htim4.Init.ClockDivision = TIM_CLOCKDIVISION_DIV1;
  htim4.Init.AutoReloadPreload = TIM_AUTORELOAD_PRELOAD_DISABLE;
  if (HAL_TIM_Base_Init(&htim4) != HAL_OK)
  {
    Error_Handler();
  }
  sClockSourceConfig.ClockSource = TIM_CLOCKSOURCE_INTERNAL;
  if (HAL_TIM_ConfigClockSource(&htim4, &sClockSourceConfig) != HAL_OK)
  {
    Error_Handler();
  }
  if (HAL_TIM_OC_Init(&htim4) != HAL_OK)
  {
    Error_Handler();
  }
  sMasterConfig.MasterOutputTrigger = TIM_TRGO_RESET;
  sMasterConfig.MasterSlaveMode = TIM_MASTERSLAVEMODE_DISABLE;
  if (HAL_TIMEx_MasterConfigSynchronization(&htim4, &sMasterConfig) != HAL_OK)
  {
    Error_Handler();
  }
  sConfigOC.OCMode = TIM_OCMODE_TOGGLE;
  sConfigOC.Pulse = 9000-1;
  sConfigOC.OCPolarity = TIM_OCPOLARITY_HIGH;
  sConfigOC.OCFastMode = TIM_OCFAST_DISABLE;
  if (HAL_TIM_OC_ConfigChannel(&htim4, &sConfigOC, TIM_CHANNEL_1) != HAL_OK)
  {
    Error_Handler();
  }
  sConfigOC.Pulse = 5000-1;
  if (HAL_TIM_OC_ConfigChannel(&htim4, &sConfigOC, TIM_CHANNEL_2) != HAL_OK)
  {
    Error_Handler();
  }
  sConfigOC.OCMode = TIM_OCMODE_TIMING;
  sConfigOC.Pulse = 10000-1;
  if (HAL_TIM_OC_ConfigChannel(&htim4, &sConfigOC, TIM_CHANNEL_3) != HAL_OK)
  {
    Error_Handler();
  }
  /* USER CODE BEGIN TIM4_Init 2 */
  HAL_TIM_OC_Start_IT(&htim4, TIM_CHANNEL_1);
  HAL_TIM_OC_Start_IT(&htim4, TIM_CHANNEL_2);
  HAL_TIM_OC_Start_IT(&htim4, TIM_CHANNEL_3);
  /* USER CODE END TIM4_Init 2 */

}

static void MX_GPIO_Init(void)
{
  GPIO_InitTypeDef GPIO_InitStruct = {0};

  /* GPIO Ports Clock Enable */
  __HAL_RCC_GPIOD_CLK_ENABLE();
  __HAL_RCC_GPIOA_CLK_ENABLE();
  __HAL_RCC_GPIOB_CLK_ENABLE();

  /*Configure GPIO pin Output Level */
  HAL_GPIO_WritePin(GPIOA, Parking_Radar_Pin|Right_Camera_Pin|Left_Camera_Pin|Front_Camera_Pin
                          |Rear_Camera_Pin, GPIO_PIN_SET);

  /*Configure GPIO pin Output Level */
  HAL_GPIO_WritePin(GPIOA, CAN_On_Pin|B_Pin, GPIO_PIN_RESET);

  /*Configure GPIO pin Output Level */
  HAL_GPIO_WritePin(Video_Output_GPIO_Port, Video_Output_Pin, GPIO_PIN_SET);

  /*Configure GPIO pin Output Level */
  HAL_GPIO_WritePin(A_GPIO_Port, A_Pin, GPIO_PIN_RESET);

  /*Configure GPIO pin : Parking_Button_Pin */
  GPIO_InitStruct.Pin = Parking_Button_Pin;
  GPIO_InitStruct.Mode = GPIO_MODE_INPUT;
  GPIO_InitStruct.Pull = GPIO_PULLUP;
  HAL_GPIO_Init(Parking_Button_GPIO_Port, &GPIO_InitStruct);

  /*Configure GPIO pins : Parking_Radar_Pin Right_Camera_Pin Left_Camera_Pin Front_Camera_Pin
                           Rear_Camera_Pin */
  GPIO_InitStruct.Pin = Parking_Radar_Pin|Right_Camera_Pin|Left_Camera_Pin|Front_Camera_Pin
                          |Rear_Camera_Pin;
  GPIO_InitStruct.Mode = GPIO_MODE_OUTPUT_PP;
  GPIO_InitStruct.Pull = GPIO_PULLUP;
  GPIO_InitStruct.Speed = GPIO_SPEED_FREQ_LOW;
  HAL_GPIO_Init(GPIOA, &GPIO_InitStruct);

  /*Configure GPIO pin : CAN_On_Pin */
  GPIO_InitStruct.Pin = CAN_On_Pin;
  GPIO_InitStruct.Mode = GPIO_MODE_OUTPUT_PP;
  GPIO_InitStruct.Pull = GPIO_NOPULL;
  GPIO_InitStruct.Speed = GPIO_SPEED_FREQ_LOW;
  HAL_GPIO_Init(CAN_On_GPIO_Port, &GPIO_InitStruct);

  /*Configure GPIO pin : Video_Output_Pin */
  GPIO_InitStruct.Pin = Video_Output_Pin;
  GPIO_InitStruct.Mode = GPIO_MODE_OUTPUT_PP;
  GPIO_InitStruct.Pull = GPIO_PULLUP;
  GPIO_InitStruct.Speed = GPIO_SPEED_FREQ_LOW;
  HAL_GPIO_Init(Video_Output_GPIO_Port, &GPIO_InitStruct);

  /*Configure GPIO pin : Power_On_Pin */
  GPIO_InitStruct.Pin = Power_On_Pin;
  GPIO_InitStruct.Mode = GPIO_MODE_IT_RISING_FALLING;
  GPIO_InitStruct.Pull = GPIO_NOPULL;
  HAL_GPIO_Init(Power_On_GPIO_Port, &GPIO_InitStruct);

  /*Configure GPIO pin : A_Pin */
  GPIO_InitStruct.Pin = A_Pin;
  GPIO_InitStruct.Mode = GPIO_MODE_OUTPUT_PP;
  GPIO_InitStruct.Pull = GPIO_NOPULL;
  GPIO_InitStruct.Speed = GPIO_SPEED_FREQ_LOW;
  HAL_GPIO_Init(A_GPIO_Port, &GPIO_InitStruct);

  /*Configure GPIO pin : B_Pin */
  GPIO_InitStruct.Pin = B_Pin;
  GPIO_InitStruct.Mode = GPIO_MODE_OUTPUT_OD;
  GPIO_InitStruct.Pull = GPIO_NOPULL;
  GPIO_InitStruct.Speed = GPIO_SPEED_FREQ_HIGH;
  HAL_GPIO_Init(B_GPIO_Port, &GPIO_InitStruct);

  /* EXTI interrupt init*/
  HAL_NVIC_SetPriority(EXTI1_IRQn, 0, 0);
  HAL_NVIC_EnableIRQ(EXTI1_IRQn);

}

void Error_Handler(void)
{
  __disable_irq();
  while (1)
  {
  }
}
